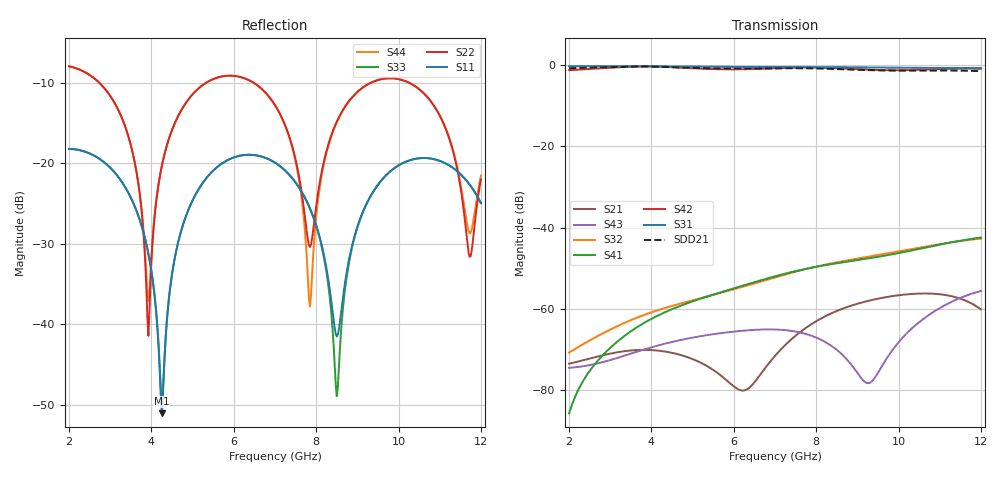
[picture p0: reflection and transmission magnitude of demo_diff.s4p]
! mom25d demo_diff (25 EM solves)
! ports: 1=P1d, 2=P1c, 3=P2d, 4=P2c
[Version] 2.0
# Hz S RI R 100
[Number of Ports] 4
[Reference] 100 25 100 25
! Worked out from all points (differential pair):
!   401 points, 2 GHz to 12 GHz, reference per port
!   strongest paths, dB at 2 GHz, 4.5 GHz, 7 GHz, 9.5 GHz, 12 GHz:
!     S31: -0.2, -0.3, -0.4, -0.5, -0.7
!     S42: -1.2, -0.5, -0.7, -1.2, -0.9
!     S41: -85.8, -60.1, -52.0, -47.2, -42.4
!     S32: -70.8, -59.3, -52.3, -46.8, -42.7
!     S43: -74.6, -68.2, -65.1, -75.8, -55.6
!     S21: -73.6, -70.9, -71.6, -57.5, -60.2
!   taken as a pair (ports 1,2 in; 3,4 out), SDD21 dB: -0.7, -0.5, -0.8, -1.2, -1.4
!   lowest |S11| = -51.1 dB at 4.25 GHz (marker M1), VSWR 1.01
!   |S11| at or under -10 dB: start of sweep to end of sweep
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[Number of Frequencies] 7
[Network Data]
2e9  0.123 0.00938  0.000172 -2.39e-05  0.0971 -0.9809  -3.41e-05 -0.000222
     0.000153 -0.000144  0.4028 -0.00459  -2.09e-05 0.000124  0.0123 -0.93
     0.0955 -0.9691  -5.4e-05 0.000283  0.1221 0.0152  0.000101 1.16e-05
     2e-05 -4.73e-05  0.00889 -0.8704  0.000107 0.000153  0.401 0.0183
3.925e9  0.00873 -0.026  -0.000149 -0.000226  -0.9474 -0.2349  -0.000866 -9.12e-05
         -0.000186 -0.000248  0.00845 0.000557  0.000726 4.97e-05  -0.9721 -0.00324
         -0.9456 -0.2344  0.000872 7.69e-05  0.00981 -0.0257  0.000199 -0.000216
         -0.000712 -7.83e-05  -0.9663 -0.00292  0.00024 -0.000221  0.014 0.000385
4.25e9  0.00278 -0.000222  -0.000218 -0.000152  -0.9749 -0.00155  -0.001 0.000166
        -0.00025 -0.000167  0.0352 0.0894  0.000837 -0.000157  -0.9307 0.2597
        -0.9722 -0.00149  0.000977 -0.000171  0.00341 -0.000233  0.00015 -0.00031
        -0.000855 0.000146  -0.923 0.2579  0.000178 -0.000315  0.0386 0.0882
6.625e9  0.1098 -0.0178  -0.00016 3.91e-05  0.1742 0.9373  0.00102 0.00206
         -0.000149 1.56e-05  0.2614 -0.1449  -0.000649 -0.00197  0.4822 0.768
         0.1742 0.9367  -0.000695 -0.00202  0.1091 -0.0212  -0.000554 0.0002
         0.00101 0.00197  0.4808 0.7656  -0.000518 0.000193  0.2542 -0.1558
7.825e9  0.0322 -0.0439  -0.000297 0.000575  0.8344 0.4547  0.00315 0.00043
         -0.00031 0.000532  0.0303 -0.00649  -0.00296 -0.00101  0.9397 0.00965
         0.8347 0.4548  -0.00299 -0.000984  0.0279 -0.0462  4.41e-05 0.0005
         0.00313 0.000389  0.9392 0.00965  7.55e-05 0.000469  0.0129 -0.00664
8.5e9  0.00839 -0.000294  0.000243 0.000939  0.9476 -0.00314  0.00332 -0.00142
       0.000217 0.000912  0.1194 0.1372  -0.00366 0.000787  0.7794 -0.4889
       0.9478 -0.00318  -0.00364 0.000818  0.00356 -0.000232  0.000216 0.000247
       0.00332 -0.00147  0.7785 -0.4882  0.000234 0.000205  0.1045 0.1466
1.2e10  0.034 -0.0452  -0.000769 -0.000452  -0.7896 -0.4824  -0.00728 -0.000523
        -0.000829 -0.000526  0.0427 0.0669  0.00744 0.00134  -0.8822 0.2063
        -0.7897 -0.4825  0.00721 0.00126  0.0364 -0.0436  0.00105 -0.00115
        -0.00753 -0.000521  -0.8817 0.2063  0.0011 -0.00123  0.0523 0.0657
[End]
